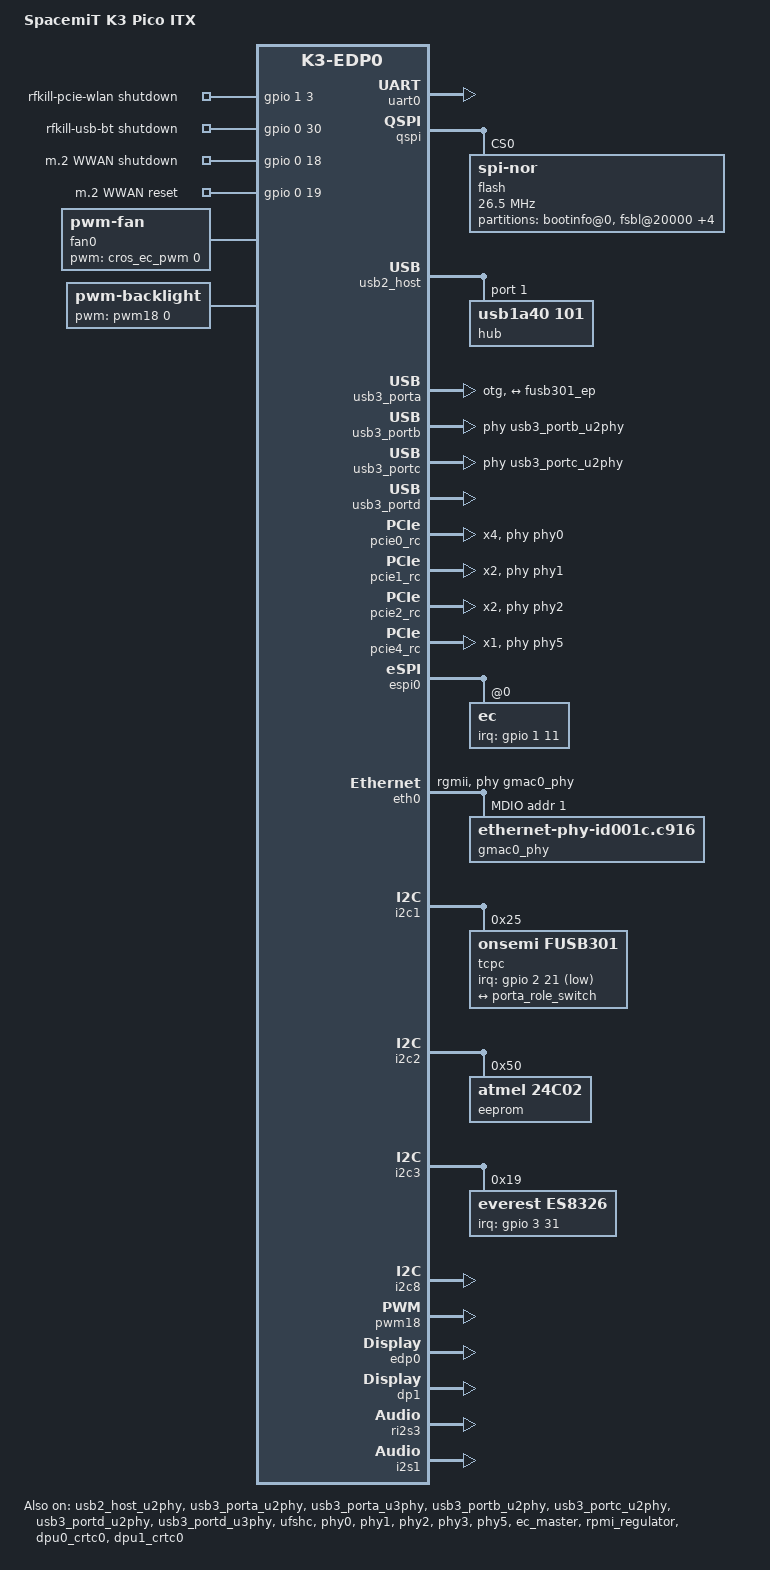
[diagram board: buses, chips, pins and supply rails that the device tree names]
// SPDX-License-Identifier: (GPL-2.0 OR MIT)
/* Copyright (c) 2025 Spacemit, Inc */

#include "k3.dtsi"
#include "k3-rdomain.dtsi"
#include "k3-pinctrl.dtsi"
#include "k3_opp_table.dtsi"
#include "k3-edp0.dtsi"
#include "k3-dp1.dtsi"
#include <dt-bindings/input/input.h>
#include <dt-bindings/leds/common.h>
#include <dt-bindings/input/cros-ec-keyboard.h>

/ {
	model = "SpacemiT K3 Pico ITX";
	compatible = "spacemit,k3-pico-itx";
	cpus: cpus {
		#address-cells = <1>;
		#size-cells = <0>;
		timebase-frequency = <24000000>;
	};
/*
	p12v: p12v {
		compatible = "regulator-fixed";
		regulator-name = "p12v";
		regulator-always-on;
		regulator-boot-on;
		regulator-min-microvolt = <12000000>;
		regulator-max-microvolt = <12000000>;
		status = "disabled";
	};

	aux_5v: aux_5v {
		compatible = "regulator-fixed";
		regulator-name = "aux_5v";
		regulator-always-on;
		regulator-boot-on;
		regulator-min-microvolt = <5000000>;
		regulator-max-microvolt = <5000000>;
		vin-supply = <&p12v>;
		status = "disabled";
	};

	aux_3v3: aux_3v3 {
		compatible = "regulator-fixed";
		regulator-name = "aux_3v3";
		regulator-always-on;
		regulator-boot-on;
		regulator-min-microvolt = <3300000>;
		regulator-max-microvolt = <3300000>;
		vin-supply = <&aux_5v>;
		status = "disabled";
	};

	p1v8: p1v8 {
		compatible = "regulator-fixed";
		regulator-name = "p1v8";
		regulator-always-on;
		regulator-boot-on;
		regulator-min-microvolt = <1800000>;
		regulator-max-microvolt = <1800000>;
		vin-supply = <&p12v>;
		status = "disabled";
	};

	p3v3: p3v3 {
		compatible = "regulator-fixed";
		regulator-name = "p3v3";
		regulator-always-on;
		regulator-boot-on;
		regulator-min-microvolt = <3300000>;
		regulator-max-microvolt = <3300000>;
		vin-supply = <&p12v>;
		status = "disabled";
	};
*/
	chosen {
                bootargs = "earlycon=sbi console=ttyS0,115200 loglevel=8 random.trust_bootloader=1 unaligned_scalar_speed=fast unaligned_vector_speed=fast";
                rng-seed = <0x25d69b2 0xff555073 0xd23238ea 0x57aa5455 0x792478ed 0xa744f28e 0x6ba4fc54 0xa2bf20fc>;
		stdout-path = "serial0:115200";
	};

	rfkill-pcie-wlan {
		compatible = "rfkill-gpio";
		label = "rfkill-pcie-wlan";
		pinctrl-names = "default";
		pinctrl-0 = <&wlan_en_cfg>;
		radio-type = "wlan";
		shutdown-gpios = <&gpio 1 3 GPIO_ACTIVE_HIGH>;
	};

	rfkill-usb-bt {
		compatible = "rfkill-gpio";
		label = "rfkill-usb-bt";
		pinctrl-names = "default";
		pinctrl-0 = <&bt_en_cfg>;
		radio-type = "bluetooth";
		shutdown-gpios = <&gpio 0 30 GPIO_ACTIVE_HIGH>;
	};

	rfkill-usb-wwan {
		compatible = "rfkill-gpio";
		label = "m.2 WWAN"; /* B-Key */
		radio-type = "wwan";
		/* MODULE_TURN_ON_1V8 (FC_PWROFF#) */
		shutdown-gpios = <&gpio 0 18 GPIO_ACTIVE_HIGH>;
		/* WWAN_RESET#_1V8 (WWAN1V8_RST#) */
		reset-gpios = <&gpio 0 19 GPIO_ACTIVE_HIGH>;
		/* GPIO84 for CPU_W_DISABLE#1 (WWAN_DIS#) is no needed*/
	};

	fan0: pwm-fan {
		compatible = "pwm-fan";
		pwms = <&cros_ec_pwm 0>;
		/*
		* Cooling states (0-8) -> PWM duty (0-255)
		* Full speed is treated as ~6000RPM.
		* Custom ramp to balance noise and thermals
		*/
		/* Keep headroom by capping max duty below 255. */
		cooling-levels = <0 30 60 90 120 140 179 204 242>;
		#cooling-cells = <2>;
	};

	backlight: backlight {
		compatible = "pwm-backlight";
		pwms = <&pwm18 0 20000 0>;
		brightness-levels = <
			0   1   2   3   4   5   6   7
			8   9  10  11  12  13  14  15
			16  17  18  19  20  21  22  23
			24  25  26  27  28  29  30  31
			32  33  34  35  36  37  38  39
			40  41  42  43  44  45  46  47
			48  49  50  51  52  53  54  55
			56  57  58  59  60  61  62  63
			64  65  66  67  68  69  70  71
			72  73  74  75  76  77  78  79
			80  81  82  83  84  85  86  87
			88  89  90  91  92  93  94  95
			96  97  98  99 100 101 102 103
			104 105 106 107 108 109 110 111
			112 113 114 115 116 117 118 119
			120 121 122 123 124 125 126 127
			128 129 130 131 132 133 134 135
			136 137 138 139 140 141 142 143
			144 145 146 147 148 149 150 151
			152 153 154 155 156 157 158 159
			160 161 162 163 164 165 166 167
			168 169 170 171 172 173 174 175
			176 177 178 179 180 181 182 183
			184 185 186 187 188 189 190 191
			192 193 194 195 196 197 198 199
			200 201 202 203 204 205 206 207
			208 209 210 211 212 213 214 215
			216 217 218 219 220 221 222 223
			224 225 226 227 228 229 230 231
			232 233 234 235 236 237 238 239
			240 241 242 243 244 245 246 247
			248 249 250 251 252 253 254 255>;
		default-brightness-level = <128>;
		status = "okay";
	};

};

&resmem {
	/* global autoconfigured region for contiguous allocations */
	cmamem: linux,cma {
		compatible = "shared-dma-pool";
		reusable;
		size = <0 0x20000000>;
		alloc-ranges = <1 0x40000000 0 0x20000000>;
		linux,cma-default;
	};
};

&pinctrl {
	gmac0-cfg {
		/delete-node/ gmac0-2-pins;
		/delete-node/ gmac0-4-pins;
		/delete-node/ gmac0-5-pins;

		gmac0-0-pins {
			power-source = <1800>;
		};

		gmac0-1-pins {
			power-source = <1800>;
		};

		gmac0-3-pins {
			power-source = <1800>;
		};

		gmac0-6-pins {
			pinmux = <K3_PADCONF(15, 0)>;

			bias-disable;
			drive-strength = <25>;
			power-source = <1800>;
		};
	};

	i2c2-1-cfg {
		i2c2-0-pins {
			power-source = <1800>;
		};
	};

	i2c1-3-cfg {
		i2c1-0-pins {
			power-source = <3300>;
		};
	};

	i2c3-1-cfg {
		i2c3-0-pins {
			power-source = <3300>;
		};
	};

	usb30_drd_dir-0-cfg {
		usb30_drd_dir-pins {
			power-source = <1800>;
		};
	};

	fusb301_cfg: fusb301-cfg {
		fusb301-0-pins {
			pinmux = <K3_PADCONF(85, 0)>;

			bias-pull-up;
			drive-strength = <25>;
			power-source = <1800>;
		};
	};

	qspi-cfg {
		/delete-node/ qspi-1-pins;
		qspi-0-pins {
			power-source = <1800>;
		};
	};

	pcie0-1-cfg {
		pcie0-0-pins {
			pinmux = <K3_PADCONF(79, 5)>,
				 <K3_PADCONF(81, 5)>;

			bias-pull-up;
			drive-strength = <33>;
			power-source = <1800>;
		};
	};

	pcie1-1-cfg {
		pcie1-0-pins {
			pinmux = <K3_PADCONF(88, 4)>,	/* pcie1 perst */
				 <K3_PADCONF(90, 4)>;	/* pcie1 clkreq */

			bias-pull-up;
			drive-strength = <33>;
			power-source = <1800>;
		};
	};

	pcie2-1-cfg {
		pcie2-0-pins {
			pinmux = <K3_PADCONF(25, 4)>,	/* pcie2 perst */
				 <K3_PADCONF(27, 4)>;	/* pcie2 clkreq */

			drive-strength = <38>;
			power-source = <3300>;
		};
	};

	pcie4_0_cfg: pcie4-0-cfg {
		pcie4-0-pins {
			pinmux = <K3_PADCONF(76, 5)>,	/* pcie4 perst */
				 <K3_PADCONF(77, 5)>,	/* pcie4 wake */
				 <K3_PADCONF(78, 5)>;	/* pcie4 clkreq */

			bias-pull-up;			/* normal bias disable */
			drive-strength = <33>;		/* DS8 */
			power-source = <1800>;
		};
	};

	wlan_en_cfg: wl-en-cfg {
		wlan-en-pins {
			pinmux = <K3_PADCONF(35, 0)>;

			bias-pull-up;
			drive-strength = <38>;
			power-source = <3300>;
		};
	};

	bt_en_cfg: bt-en-cfg {
		bt-en-pins {
			pinmux = <K3_PADCONF(30, 0)>;

			bias-pull-up;
			drive-strength = <38>;
			power-source = <3300>;
		};
	};

	dp1_1_cfg: dp1-1-cfg {
		dp1-0-pins {
			pinmux = <K3_PADCONF(24, 6)>;	/* dp1 hpd */

			bias-disable;			/* normal bias disable */
			drive-strength = <25>;		/* DS8 */
			power-source = <3300>;
		};
	};

	dp0_1_cfg: dp0-1-cfg {
		dp0-0-pins {
			pinmux = <K3_PADCONF(23, 6)>;	/* dp0 hpd */

			bias-disable;			/* normal bias disable */
			drive-strength = <25>;		/* DS8 */
			power-source = <3300>;
		};
	};

	pwm18_2_cfg: pwm18-2-cfg {
		pwm18-0-pins {
			pinmux = <K3_PADCONF(106, 6)>;	/* pwm18 */

			bias-pull-up;			/* normal pull-up */
			drive-strength = <25>;		/* DS8 */
			power-source = <3300>;
		};
	};

	sspa1_1_cfg: sspa1-1-cfg {
		sspa1-0-pins {
			power-source = <3300>;
		};
	};
};

&uart0 {
	pinctrl-names = "default";
	pinctrl-0 = <&uart0_0_cfg>;
	status = "okay";
};

&qspi {
	pinctrl-names = "default";
	pinctrl-0 = <&qspi_cfg>;
	status = "okay";

	flash@0 {
		compatible = "jedec,spi-nor";
		reg = <0>;
		spi-max-frequency = <26500000>;
		m25p,fast-read;
		broken-flash-reset;
		status = "okay";

		partitions {
			compatible = "fixed-partitions";
			#address-cells = <1>;
			#size-cells = <1>;

			bootinfo@0 {
				reg = <0x00000000 0x00020000>;
			};
			fsbl@20000 {
				reg = <0x00020000 0x00080000>;
			};
			env@a0000 {
				reg = <0x000a0000 0x00010000>;
			};
			esos@b0000 {
				reg = <0x000b0000 0x00100000>;
			};
			opensbi@1b0000 {
				reg = <0x001b0000 0x00060000>;
			};
			uboot@210000 {
				reg = <0x00210000 0x005f0000>;
			};
		};
	};
};

&usb2_host_u2phy {
	status = "okay";
};

&usb2_host {
	#address-cells = <1>;
	#size-cells = <0>;
	status = "okay";

	hub@1 {
		/* FE1.1S USB2.0 hub (4 ports) */
		compatible = "usb1a40,101";
		reg = <1>;
	};
};

&usb3_porta_u2phy {
	status = "okay";
};

&usb3_porta_u3phy {
	/* dual phy selection is auto detect from GPIO86(SS_SW_3V3) */
	pinctrl-names = "default";
	pinctrl-0 = <&usb30_drd_dir_0_cfg>;
	status = "okay";
};

&usb3_porta {
	dr_mode = "otg";
	usb-role-switch;
	role-switch-default-mode = "peripheral";
	monitor-vbus;
	status = "okay";

	ports {
		#address-cells = <1>;
		#size-cells = <0>;
		port@0 {
			reg = <0x0>;
			porta_role_switch: endpoint {
				remote-endpoint = <&fusb301_ep>;
			};
		};
	};
};

&usb3_portb_u2phy {
	status = "okay";
};

&usb3_portb {
	/* M2.B Socket, only enable USB2 phy */
	/delete-property/ phys;
	/delete-property/ phy-names;
	maximum-speed = "high-speed";
	phys = <&usb3_portb_u2phy>;
	phy-names = "usb2-phy";
	status = "disabled";
	status = "okay";
};

&usb3_portc_u2phy {
	status = "okay";
};

&usb3_portc_u3phy {
	status = "disabled";
};

&usb3_portc {
	/* Bluetooth, only enable USB2 phy */
	/delete-property/ phys;
	/delete-property/ phy-names;
	maximum-speed = "high-speed";
	phys = <&usb3_portc_u2phy>;
	phy-names = "usb2-phy";
	status = "okay";
};

&usb3_portd_u2phy {
	status = "okay";
};

&usb3_portd_u3phy {
	status = "okay";
};

&usb3_portd {
	/* TypeC (USB3/DP/Power) (with ANX7447 chip) */
	status = "okay";
};

&ufshc {
	status = "okay";
};

&phy0 {
	status = "okay";
};

&phy1 {
	status = "okay";
};

&phy2 {
	status = "okay";
};

&phy3 {
	status = "okay";
};

&phy5 {
	status = "okay";
};

&pcie0_rc {
	pinctrl-names = "default";
	pinctrl-0 = <&pcie0_1_cfg>;
	phys = <&phy0>, <&phy1>;
	phy-names = "phy0", "phy1";
	num-lanes = <4>;
	spacemit,bifurcation-gpios = <&gpio 2 25 GPIO_ACTIVE_HIGH>;
	status = "okay";
};

&pcie1_rc {
	pinctrl-names = "default";
	pinctrl-0 = <&pcie1_1_cfg>;
	phys = <&phy1>;
	phy-names = "phy1";
	num-lanes = <2>;
	spacemit,device-detect-gpios = <&gpio 2 25 GPIO_ACTIVE_HIGH>;
	status = "okay";
};

&pcie2_rc {
	pinctrl-names = "default";
	pinctrl-0 = <&pcie2_1_cfg>;
	phys = <&phy2>, <&phy3>;
	phy-names = "phy2", "phy3";
	num-lanes = <2>;
	status = "okay";
};

&pcie4_rc {
	pinctrl-names = "default";
	pinctrl-0 = <&pcie4_0_cfg>;
	phys = <&phy5>;
	phy-names = "phy5";
	num-lanes = <1>;
	status = "okay";
};

&espi0 {
	status = "okay";
	ec@0 {
		status = "okay";
		interrupt-parent = <&gpio>;
		interrupts = <1 11 IRQ_TYPE_EDGE_RISING>;

		i2c_tunnel1: i2c-tunnel@1 {
			compatible = "google,cros-ec-i2c-tunnel";
			#address-cells = <1>;
			#size-cells = <0>;
			google,remote-bus = <1>;
		};

		i2c_tunnel4: i2c-tunnel@4 {
			compatible = "google,cros-ec-i2c-tunnel";
			#address-cells = <1>;
			#size-cells = <0>;
			google,remote-bus = <4>;
		};

		/* EC PWM provider for fan control */
		cros_ec_pwm: pwm {
			compatible = "google,cros-ec-pwm";
			#pwm-cells = <1>;
		};

		keyboard {
			compatible = "google,cros-ec-keyb";
			keypad,num-rows = <8>;
			keypad,num-columns = <16>;
			linux,keymap = <
					CROS_STD_TOP_ROW_KEYMAP
					CROS_STD_MAIN_KEYMAP
			>;
		};
	};
};

&ec_master {
	status = "okay";
};

&eth0 {
	pinctrl-names = "default";
	pinctrl-0 = <&gmac0_cfg>;

	max-speed = <1000>;
	phy-mode = "rgmii";
	phy-handle = <&gmac0_phy>;
	snps,reset-gpios = <&gpio 0 15 GPIO_ACTIVE_LOW>;
	snps,reset-delays-us = <0 20000 100000>;

	spacemit,wake-irq-enable;

	spacemit,clk-tuning-enable;
	spacemit,clk-tuning-by-delayline;
	spacemit,tx-phase = <73>;
	spacemit,rx-phase = <61>;

	status = "okay";

	mdio {
		#address-cells = <1>;
		#size-cells = <0>;
		compatible = "snps,dwmac-mdio";

		gmac0_phy: ethernet-phy@1 {
			compatible = "ethernet-phy-id001c.c916",
				     "ethernet-phy-ieee802.3-c22";
			reg = <1>;

			leds {
				#address-cells = <1>;
				#size-cells = <0>;

				led@1 {
					reg = <1>;
					function = LED_FUNCTION_LAN;
					color = <LED_COLOR_ID_GREEN>;
					default-state = "keep";
				};

				led@2 {
					reg = <2>;
					function = LED_FUNCTION_LAN;
					color = <LED_COLOR_ID_YELLOW>;
					default-state = "keep";
				};
			};
		};
	};
};

&thermal_zones {
	thermal_top {
		polling-delay = <1000>;
		polling-delay-passive = <500>;
		thermal-sensors = <&thermal 0>;

		trips {
			thermal_top_trip0: thermal_top-trip0 {
				temperature = <45000>;
				hysteresis = <2000>;
				type = "active";
			};
		};
	};

	thermal_vpu {
		polling-delay = <1000>;
		polling-delay-passive = <500>;
		thermal-sensors = <&thermal 2>;

		trips {
			thermal_vpu_trip0: thermal_vpu-trip0 {
				temperature = <60000>;
				hysteresis = <2000>;
				type = "active";
			};
		};
	};

	thermal_gpu {
		polling-delay = <1000>;
		polling-delay-passive = <500>;
		thermal-sensors = <&thermal 3>;

		trips {
			gpu_alert0: gpu-alert0 {
				temperature = <65000>;
				hysteresis = <2000>;
				type = "passive";
			};

			gpu_alert1: gpu-alert1 {
				temperature = <75000>;
				hysteresis = <2000>;
				type = "passive";
			};

			gpu_alert2: gpu-alert2 {
				temperature = <85000>;
				hysteresis = <2000>;
				type = "passive";
			};

			gpu_crit: gpu-crit {
				temperature = <115000>;
				hysteresis = <2000>;
				type = "critical";
			};
		};

		cooling-maps {
			map0 {
				trip = <&gpu_alert0>;
				cooling-device = <&imggpu 0 1>;
			};

			map1 {
				trip = <&gpu_alert1>;
				cooling-device = <&imggpu 2 3>;
			};

			map2 {
				trip = <&gpu_alert2>;
				cooling-device = <&imggpu 4 5>;
			};
		};
	};

	thermal_cluster0 {
		polling-delay = <1000>;
		polling-delay-passive = <500>;
		thermal-sensors = <&thermal 4>;

		trips {
			thermal_cluster0_trip0: thermal_cluster0-trip0 {
				temperature = <45000>;
				hysteresis = <2000>;
				type = "active";
			};

			thermal_cluster0_trip1: thermal_cluster0-trip1 {
				temperature = <55000>;
				hysteresis = <2000>;
				type = "passive";
			};

			thermal_cluster0_trip2: thermal_cluster0-trip2 {
				temperature = <65000>;
				hysteresis = <2000>;
				type = "passive";
			};

			thermal_cluster0_trip3: thermal_cluster0-trip3 {
				temperature = <75000>;
				hysteresis = <2000>;
				type = "passive";
			};

			thermal_cluster0_trip4: thermal_cluster0-trip4 {
				temperature = <85000>;
				hysteresis = <2000>;
				type = "passive";
			};

			thermal_cluster0_trip5: thermal_cluster0-trip5 {
				temperature = <90000>;
				hysteresis = <2000>;
				type = "passive";
			};

			thermal_cluster0_trip6: thermal_cluster0-trip6 {
				temperature = <95000>;
				hysteresis = <2000>;
				type = "passive";
			};
		};

		cooling-maps {
			map0 {
				trip = <&thermal_cluster0_trip0>;
				cooling-device = <&fan0 0 1>;
			};

			map1 {
				trip = <&thermal_cluster0_trip1>;
				cooling-device = <&fan0 2 3>;
			};

			map2 {
				trip = <&thermal_cluster0_trip2>;
				cooling-device = <&fan0 3 4>;
			};

			map3 {
				trip = <&thermal_cluster0_trip3>;
				cooling-device = <&fan0 4 5>;
			};

			map4 {
				trip = <&thermal_cluster0_trip4>;
				cooling-device = <&fan0 6 6>;
			};

			map5 {
				trip = <&thermal_cluster0_trip5>;
				cooling-device = <&fan0 7 7>;
			};

			map6 {
				trip = <&thermal_cluster0_trip6>;
				cooling-device = <&fan0 8 8>;
			};
		};
	};

	thermal_cluster1 {
		polling-delay = <1000>;
		polling-delay-passive = <250>;
		thermal-sensors = <&thermal 5>;

		trips {
			thermal_cluster1_trip0: thermal_cluster1-trip0 {
				temperature = <85000>;
				hysteresis = <2000>;
				type = "active";
			};

			thermal_cluster1_trip1: thermal_cluster1-trip1 {
				temperature = <95000>;
				hysteresis = <2000>;
				type = "passive";
			};

			thermal_cluster1_trip2: thermal_cluster1-trip2 {
				temperature = <105000>;
				hysteresis = <2000>;
				type = "passive";
			};

			thermal_cluster1_trip3: thermal_cluster1-trip3 {
				temperature = <115000>;
				hysteresis = <2000>;
				type = "critical";
			};
		};

		cooling-maps {
			map0 {
				trip = <&thermal_cluster1_trip0>;
				cooling-device = <&cpu_0 2 2>,
						<&cpu_1 2 2>,
						<&cpu_2 2 2>,
						<&cpu_3 2 2>,
						<&cpu_4 2 2>,
						<&cpu_5 2 2>,
						<&cpu_6 2 2>,
						<&cpu_7 2 2>;
			};

			map1 {
				trip = <&thermal_cluster1_trip1>;
				cooling-device = <&cpu_0 3 5>,
						<&cpu_1 3 5>,
						<&cpu_2 3 5>,
						<&cpu_3 3 5>,
						<&cpu_4 3 5>,
						<&cpu_5 3 5>,
						<&cpu_6 3 5>,
						<&cpu_7 3 5>;
			};

			map2 {
				trip = <&thermal_cluster1_trip2>;
				cooling-device = <&cpu_0 6 8>,
						<&cpu_1 6 8>,
						<&cpu_2 6 8>,
						<&cpu_3 6 8>,
						<&cpu_4 6 8>,
						<&cpu_5 6 8>,
						<&cpu_6 6 8>,
						<&cpu_7 6 8>;
			};
		};
	};

	thermal_cluster2 {
		polling-delay = <1000>;
		polling-delay-passive = <250>;
		thermal-sensors = <&thermal 6>;

		trips {
			thermal_cluster2_trip0: thermal_cluster2-trip0 {
				temperature = <85000>;
				hysteresis = <2000>;
				type = "active";
			};

			thermal_cluster2_trip1: thermal_cluster2-trip1 {
				temperature = <95000>;
				hysteresis = <2000>;
				type = "passive";
			};

			thermal_cluster2_trip2: thermal_cluster2-trip2 {
				temperature = <105000>;
				hysteresis = <2000>;
				type = "passive";
			};

			thermal_cluster2_trip3: thermal_cluster2-trip3 {
				temperature = <115000>;
				hysteresis = <2000>;
				type = "critical";
			};
		};

		cooling-maps {
			map0 {
				trip = <&thermal_cluster2_trip0>;
				cooling-device = <&cpu_8 3 3>,
						<&cpu_9 3 3>,
						<&cpu_10 3 3>,
						<&cpu_11 3 3>,
						<&cpu_12 3 3>,
						<&cpu_13 3 3>,
						<&cpu_14 3 3>,
						<&cpu_15 3 3>;
			};

			map1 {
				trip = <&thermal_cluster2_trip1>;
				cooling-device = <&cpu_8 4 5>,
						<&cpu_9 4 5>,
						<&cpu_10 4 5>,
						<&cpu_11 4 5>,
						<&cpu_12 4 5>,
						<&cpu_13 4 5>,
						<&cpu_14 4 5>,
						<&cpu_15 4 5>;
			};

			map2 {
				trip = <&thermal_cluster2_trip2>;
				cooling-device = <&cpu_8 6 8>,
						<&cpu_9 6 8>,
						<&cpu_10 6 8>,
						<&cpu_11 6 8>,
						<&cpu_12 6 8>,
						<&cpu_13 6 8>,
						<&cpu_14 6 8>,
						<&cpu_15 6 8>;
			};
		};
	};

	thermal_cluster3 {
		polling-delay = <1000>;
		polling-delay-passive = <250>;
		thermal-sensors = <&thermal 7>;

		trips {
			thermal_cluster7_trip0: thermal_cluster7-trip0 {
				temperature = <40000>;
				hysteresis = <5000>;
				type = "passive";
			};
		};
	};
};

&rpmi_regulator {
	status = "okay";
	pinctrl-names = "default";
	pinctrl-0 = <&i2c8_cfg_rcpu>;

	pvin: pvin {
		regulator-min-microvolt = <5000000>;
		regulator-max-microvolt = <5000000>;
		regulator-always-on;
		regulator-boot-on;
	};

	adcdc2: adcdc2 {
		regulator-min-microvolt = <540000>;
		regulator-max-microvolt = <1000000>;
		regulator-always-on;
		regulator-boot-on;
	};

	adcdc1: adcdc1 {
		regulator-min-microvolt = <540000>;
		regulator-max-microvolt = <1000000>;
		regulator-always-on;
		regulator-boot-on;
	};

	p3v3: p3v3 {
		regulator-min-microvolt = <3300000>;
		regulator-max-microvolt = <3300000>;
		regulator-always-on;
		regulator-boot-on;
	};

	p1v8: p1v8 {
		regulator-min-microvolt = <1800000>;
		regulator-max-microvolt = <1800000>;
		regulator-always-on;
		regulator-boot-on;
	};

	dcdc1: dcdc1 {
		regulator-min-microvolt = <1050000>;
		regulator-max-microvolt = <1050000>;
		regulator-always-on;
		regulator-boot-on;
	};

	dcdc3: dcdc3 {
		regulator-min-microvolt = <800000>;
		regulator-max-microvolt = <800000>;
		regulator-always-on;
		regulator-boot-on;
	};

	dcdc4: dcdc4 {
		regulator-min-microvolt = <2100000>;
		regulator-max-microvolt = <2100000>;
		regulator-always-on;
		regulator-boot-on;
	};

	dcdc5: dcdc5 {
		regulator-min-microvolt = <1800000>;
		regulator-max-microvolt = <1800000>;
		regulator-always-on;
		regulator-boot-on;
	};

	dcdc6: dcdc6 {
		regulator-min-microvolt = <500000>;
		regulator-max-microvolt = <600000>;
		regulator-always-on;
		regulator-boot-on;
	};

	aldo1: aldo1 {
		regulator-min-microvolt = <1800000>;
		regulator-max-microvolt = <3300000>;
		regulator-always-on;
		regulator-boot-on;
	};

	aldo2: aldo2 {
		regulator-min-microvolt = <1800000>;
		regulator-max-microvolt = <1800000>;
		regulator-always-on;
		regulator-boot-on;
	};

	aldo3: aldo3 {
		regulator-min-microvolt = <500000>;
		regulator-max-microvolt = <3400000>;
	};

	aldo4: aldo4 {
		regulator-min-microvolt = <3300000>;
		regulator-max-microvolt = <3300000>;
		regulator-always-on;
		regulator-boot-on;
	};

	dldo1: dldo1 {
		regulator-min-microvolt = <1200000>;
		regulator-max-microvolt = <1200000>;
		regulator-always-on;
		regulator-boot-on;
	};

	dldo2: dldo2 {
		regulator-min-microvolt = <900000>;
		regulator-max-microvolt = <900000>;
		regulator-always-on;
		regulator-boot-on;
	};

	dldo3: dldo3 {
		regulator-min-microvolt = <800000>;
		regulator-max-microvolt = <800000>;
		regulator-always-on;
		regulator-boot-on;
	};

	dldo4: dldo4 {
		regulator-min-microvolt = <1800000>;
		regulator-max-microvolt = <1800000>;
		regulator-always-on;
		regulator-boot-on;
	};

	dldo5: dldo5 {
		regulator-min-microvolt = <1800000>;
		regulator-max-microvolt = <1800000>;
		regulator-always-on;
		regulator-boot-on;
	};

	dldo6: dldo6 {
		regulator-min-microvolt = <1800000>;
		regulator-max-microvolt = <1800000>;
		regulator-always-on;
		regulator-boot-on;
	};

	dldo7: dldo7 {
		regulator-min-microvolt = <1800000>;
		regulator-max-microvolt = <1800000>;
		regulator-always-on;
		regulator-boot-on;
	};

	pwr_x100: pwr_x100 {
		regulator-min-microvolt = <3300000>;
		regulator-max-microvolt = <3300000>;
		regulator-always-on;
		regulator-boot-on;
	};

	pwr_a100: pwr_a100 {
		regulator-min-microvolt = <3300000>;
		regulator-max-microvolt = <3300000>;
		regulator-always-on;
		regulator-boot-on;
	};

	pwr_ext: pwr_ext {
		regulator-min-microvolt = <3300000>;
		regulator-max-microvolt = <3300000>;
		regulator-always-on;
		regulator-boot-on;
	};
};

&i2c1 {
	pinctrl-names = "default";
	pinctrl-0 = <&i2c1_3_cfg>;
	status = "okay";

	tcpc@25 {
		compatible = "onsemi,fusb301";
		reg = <0x25>;
		pinctrl-names = "default";
		pinctrl-0 = <&fusb301_cfg>;
		irq-gpios = <&gpio 2 21 GPIO_ACTIVE_LOW>;
		wakeup-source;
		status = "okay";

		typec_0: connector@0 {
			compatible = "usb-c-connector";
			label = "USB-C";
			data-role = "dual";
			power-role = "dual";
			try-power-role = "sink";
			typec-power-opmode = "default";
			pd-disable;

			ports {
				#address-cells = <0x1>;
				#size-cells = <0x0>;

				port@0 {
					reg = <0x0>;
					fusb301_ep: endpoint {
						remote-endpoint = <&porta_role_switch>;
					};
				};
			};
		};
	};
};

&i2c2 {
	pinctrl-names = "default";
	pinctrl-0 = <&i2c2_1_cfg>;
	status = "okay";

	eeprom@50 {
		compatible = "atmel,24c02";
		reg = <0x50>;
		read-only;
		status = "okay";

		nvmem-layout {
			compatible = "onie,tlv-layout";

			product_name: product-name {
			};
		};
	};
};

&i2c3 {
	pinctrl-names = "default";
	pinctrl-0 = <&i2c3_1_cfg>;
	status = "okay";

	es8326: es8326@19{
		compatible = "everest,es8326";
		reg = <0x19>;
		#sound-dai-cells = <0>;
		interrupt-parent = <&gpio>;
		interrupts = <3 31 IRQ_TYPE_EDGE_RISING>;
		/* spk-ctl-gpio = <&gpio 127 0>; */
		everest,mic1-src = [44];
		everest,mic2-src = [66];
		everest,jack-detect-inverted;
		status = "okay";
	};
};

&i2c8 {
	status = "okay";
	spacemit,sda-glitch-nofix;
};

/*
&i2c8 {
	pinctrl-names = "default";
	pinctrl-0 = <&i2c8_cfg>;
	status = "disabled";

	p1@41 {
		compatible = "spacemit,p1";
		reg = <0x41>;
		status = "disabled";

		vcc-supply = <&aux_5v>;

		regulators {
			compatible = "spacemit-p1-regulator";

			buck1: buck1 {
				regulator-min-microvolt = <1050000>;
				regulator-max-microvolt = <1050000>;
				regulator-ramp-delay = <5000>;
				regulator-always-on;
				regulator-boot-on;
			};

			buck2: buck2 {
				regulator-min-microvolt = <1050000>;
				regulator-max-microvolt = <1050000>;
				regulator-ramp-delay = <5000>;
				regulator-always-on;
				regulator-boot-on;
			};

			buck3: buck3 {
				regulator-min-microvolt = <800000>;
				regulator-max-microvolt = <800000>;
				regulator-ramp-delay = <5000>;
				regulator-always-on;
				regulator-boot-on;
			};

			buck4: buck4 {
				regulator-min-microvolt = <2100000>;
				regulator-max-microvolt = <2100000>;
				regulator-ramp-delay = <5000>;
				regulator-always-on;
				regulator-boot-on;
			};

			buck5: buck5 {
				regulator-min-microvolt = <1800000>;
				regulator-max-microvolt = <1800000>;
				regulator-ramp-delay = <5000>;
				regulator-always-on;
				regulator-boot-on;
			};

			buck6: buck6 {
				regulator-min-microvolt = <500000>;
				regulator-max-microvolt = <500000>;
				regulator-ramp-delay = <5000>;
				regulator-always-on;
				regulator-boot-on;
			};

			aldo1: aldo1 {
				regulator-min-microvolt = <1800000>;
				regulator-max-microvolt = <3300000>;
				regulator-always-on;
				regulator-boot-on;
			};

			aldo2: aldo2 {
				regulator-min-microvolt = <1800000>;
				regulator-max-microvolt = <1800000>;
				regulator-always-on;
				regulator-boot-on;
			};

			aldo3: aldo3 {
				regulator-min-microvolt = <500000>;
				regulator-max-microvolt = <3400000>;
			};

			aldo4: aldo4 {
				regulator-min-microvolt = <3300000>;
				regulator-max-microvolt = <3300000>;
				regulator-always-on;
				regulator-boot-on;
			};

			dldo1: dldo1 {
				regulator-min-microvolt = <1200000>;
				regulator-max-microvolt = <1200000>;
				regulator-always-on;
				regulator-boot-on;
			};

			dldo2: dldo2 {
				regulator-min-microvolt = <900000>;
				regulator-max-microvolt = <900000>;
				regulator-always-on;
				regulator-boot-on;
			};

			dldo3: dldo3 {
				regulator-min-microvolt = <800000>;
				regulator-max-microvolt = <800000>;
				regulator-always-on;
				regulator-boot-on;
			};

			dldo4: dldo4 {
				regulator-min-microvolt = <1800000>;
				regulator-max-microvolt = <1800000>;
				regulator-boot-on;
			};

			dldo5: dldo5 {
				regulator-min-microvolt = <1800000>;
				regulator-max-microvolt = <1800000>;
				regulator-always-on;
				regulator-boot-on;
			};

			dldo6: dldo6 {
				regulator-min-microvolt = <1800000>;
				regulator-max-microvolt = <1800000>;
				regulator-always-on;
				regulator-boot-on;
			};

			dldo7: dldo7 {
				regulator-min-microvolt = <1800000>;
				regulator-max-microvolt = <1800000>;
				regulator-always-on;
				regulator-boot-on;
			};
		};
	};

	mpq8655: mpq8655@30 {
		compatible = "spacemit,mpq8655";
		reg = <0x30>;

		vcc-supply = <&p12v>;

		regulators {
			compatible = "spacemit,regulator,mpq8655";

			edcdc1: edcdc1 {
				regulator-min-microvolt = <600000>;
				regulator-max-microvolt = <1000000>;
				regulator-ramp-delay = <10>;
				regulator-always-on;
				regulator-boot-on;
			};
		};
	};
};
*/

&pwm18 {
	pinctrl-names = "default";
	pinctrl-0 = <&pwm18_2_cfg>;
	status = "okay";
};

&dpu0_crtc0 {
	memory-region = <&dpu_resv0>;
	status = "okay";
};

&edp0 {
	pinctrl-names = "default";
	pinctrl-0 = <&dp0_1_cfg>;
	backlight = <&backlight>;
	gpios-power = <101>;
	gpios-enable = <118>;
	status = "okay";
};

&dpu1_crtc0 {
	memory-region = <&dpu_resv1>;
	status = "okay";
};

&dp1 {
	pinctrl-names = "default";
	pinctrl-0 = <&dp1_1_cfg>;
	status = "okay";
};

&adma3 {
	status = "okay";
};

&ri2s3 {
	status = "okay";
};

&sound_card_dp1 {
	status = "okay";
	simple-audio-card,name = "snd-dp1";
	simple-audio-card,mclk-fs = <512>;
	simple-audio-card,dai-link@0 {
		format = "left_j";
		frame-master = <&dp1_link_cpu>;
		bitclock-master = <&dp1_link_cpu>;
		dp1_link_codec: codec {
			playback-only;
			sound-dai = <&dp1>;
		};
	};
};

&i2s1 {
	status = "okay";
	pinctrl-0 = <&sspa1_1_cfg>;
	pinctrl-names = "default";
};

&sound_card1 {
	status = "okay";
	simple-audio-card,name = "snd-es8326";
	simple-audio-card,mclk-fs = <256>;
	simple-audio-card,dai-link@0 {
		format = "i2s";
		frame-master = <&link1_cpu>;
		bitclock-master = <&link1_cpu>;

		link1_cpu: cpu {
			sound-dai = <&i2s1>;
		};

		link1_codec: codec {
			sound-dai = <&es8326>;
		};
	};
};

&cpu_0 {
	clst-supply = <&adcdc1>;
};

&cpu_1 {
	clst-supply = <&adcdc1>;
};

&cpu_2 {
	clst-supply = <&adcdc1>;
};

&cpu_3 {
	clst-supply = <&adcdc1>;
};

&cpu_4 {
	clst-supply = <&adcdc1>;
};

&cpu_5 {
	clst-supply = <&adcdc1>;
};

&cpu_6 {
	clst-supply = <&adcdc1>;
};

&cpu_7 {
	clst-supply = <&adcdc1>;
};
